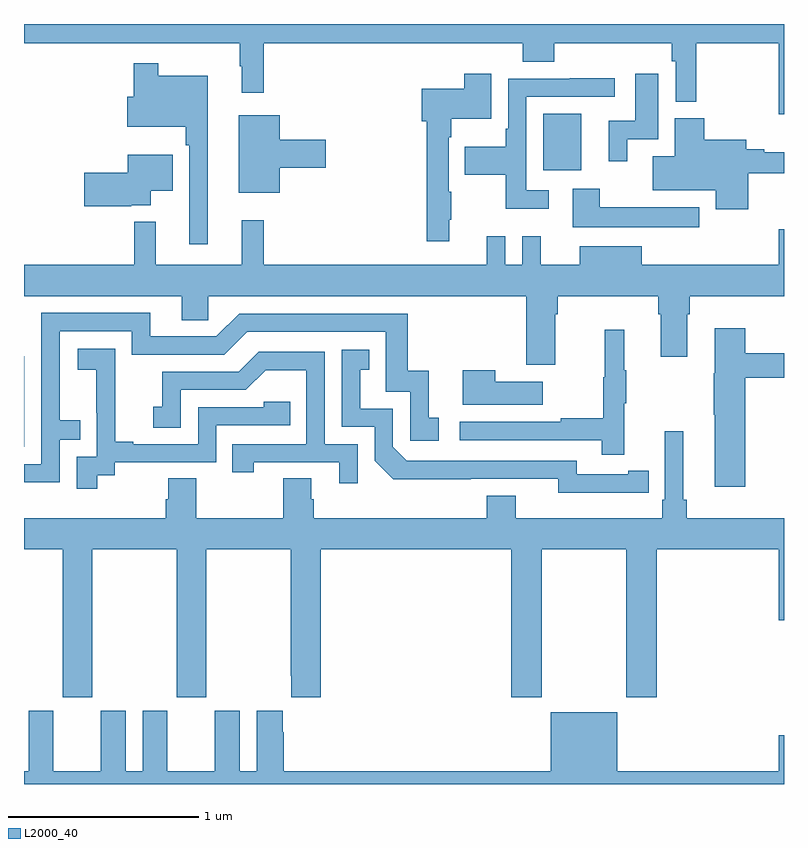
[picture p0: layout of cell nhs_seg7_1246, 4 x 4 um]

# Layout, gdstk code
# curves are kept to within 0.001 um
import gdstk
lib = gdstk.Library(unit=1e-6, precision=1e-09)
def R(c, l, rs):  # rectangles x0, y0, x1, y1
    for r in rs: c.add(gdstk.rectangle(r[:2], r[2:], *l))
def P(c, l, *ps):  # polygons
    for p in ps: c.add(gdstk.Polygon(p, *l))
L2000_40 = (2000, 40)

nhs_seg7_1246 = lib.new_cell('nhs_seg7_1246')
R(nhs_seg7_1246, L2000_40, [(197,1047.774,197.001,1048.251), (199.733,1049.231,199.933,1049.527)])
P(nhs_seg7_1246, L2000_40, [(201,1050),(197,1050),(197,1049.9),(198.135,1049.9),(198.135,1049.777),(198.146,1049.777),(198.146,1049.637),(198.263,1049.637),(198.263,1049.9),(199.625,1049.9),(199.625,1049.801),(199.79,1049.801),(199.79,1049.9),(200.41,1049.9),(200.41,1049.804),(200.43,1049.804),(200.43,1049.592),(200.539,1049.592),(200.539,1049.9),(200.972,1049.9),(200.972,1049.526),(201,1049.526)],
  [(197.968,1049.728),(197.707,1049.728),(197.707,1049.794),(197.578,1049.794),(197.578,1049.617),(197.544,1049.617),(197.544,1049.459),(197.851,1049.459),(197.851,1049.363),(197.871,1049.363),(197.871,1048.842),(197.968,1048.842)],
  [(199.238,1048.969),(199.249,1048.969),(199.249,1049.117),(199.236,1049.117),(199.236,1049.405),(199.249,1049.405),(199.249,1049.501),(199.459,1049.501),(199.459,1049.737),(199.316,1049.737),(199.316,1049.659),(199.094,1049.659),(199.094,1049.489),(199.12,1049.489),(199.12,1048.857),(199.238,1048.857)],
  [(200.176,1049.394),(200.338,1049.394),(200.338,1049.737),(200.216,1049.737),(200.216,1049.49),(200.078,1049.49),(200.078,1049.277),(200.176,1049.277)],
  [(199.762,1049.124),(199.644,1049.124),(199.644,1049.616),(200.11,1049.616),(200.11,1049.714),(199.873,1049.714),(199.873,1049.712),(199.548,1049.712),(199.548,1049.449),(199.536,1049.449),(199.536,1049.353),(199.321,1049.353),(199.321,1049.206),(199.536,1049.206),(199.536,1049.027),(199.762,1049.027)],
  [(198.346,1049.243),(198.589,1049.243),(198.589,1049.39),(198.346,1049.39),(198.346,1049.521),(198.131,1049.521),(198.131,1049.111),(198.346,1049.111)],
  [(200.813,1049.214),(201,1049.214),(201,1049.324),(200.896,1049.324),(200.896,1049.342),(200.8,1049.342),(200.8,1049.39),(200.579,1049.39),(200.579,1049.503),(200.426,1049.503),(200.426,1049.305),(200.309,1049.305),(200.309,1049.126),(200.642,1049.126),(200.642,1049.025),(200.813,1049.025)],
  [(197.564,1049.045),(197.668,1049.045),(197.668,1049.123),(197.782,1049.123),(197.782,1049.311),(197.546,1049.311),(197.546,1049.216),(197.316,1049.216),(197.316,1049.04),(197.564,1049.04)],
  [(200.554,1049.035),(200.029,1049.035),(200.029,1049.134),(199.889,1049.134),(199.889,1048.931),(200.554,1048.931)],
  [(199.795,1048.472),(199.808,1048.472),(199.808,1048.568),(200.339,1048.568),(200.339,1048.472),(200.351,1048.472),(200.351,1048.248),(200.491,1048.248),(200.491,1048.472),(200.504,1048.472),(200.504,1048.568),(201,1048.568),(201,1048.921),(200.972,1048.921),(200.972,1048.732),(200.251,1048.732),(200.251,1048.831),(199.925,1048.831),(199.925,1048.732),(199.721,1048.732),(199.721,1048.882),(199.623,1048.882),(199.623,1048.732),(199.533,1048.732),(199.533,1048.882),(199.436,1048.882),(199.436,1048.732),(198.263,1048.732),(198.263,1048.966),(198.146,1048.966),(198.146,1048.732),(197.693,1048.732),(197.693,1048.96),(197.579,1048.96),(197.579,1048.732),(197,1048.732),(197,1048.568),(197.831,1048.568),(197.831,1048.441),(197.97,1048.441),(197.97,1048.568),(199.643,1048.568),(199.643,1048.206),(199.795,1048.206)],
  [(197.187,1047.813),(197.297,1047.813),(197.297,1047.914),(197.187,1047.914),(197.187,1048.383),(197.568,1048.383),(197.568,1048.26),(198.054,1048.26),(198.174,1048.38),(198.903,1048.38),(198.903,1048.065),(199.032,1048.065),(199.032,1047.807),(199.183,1047.807),(199.183,1047.927),(199.13,1047.927),(199.13,1048.174),(199.019,1048.174),(199.019,1048.476),(198.132,1048.476),(198.012,1048.356),(197.665,1048.356),(197.665,1048.479),(197.091,1048.479),(197.091,1047.684),(197,1047.684),(197,1047.588),(197.187,1047.588)],
  [(200.795,1048.138),(201,1048.138),(201,1048.267),(200.795,1048.267),(200.795,1048.399),(200.636,1048.399),(200.636,1048.161),(200.629,1048.161),(200.629,1047.943),(200.636,1047.943),(200.636,1047.564),(200.795,1047.564)],
  [(200.159,1048.003),(200.17,1048.003),(200.17,1048.177),(200.159,1048.177),(200.159,1048.39),(200.056,1048.39),(200.056,1048.14),(200.049,1048.14),(200.049,1047.926),(199.825,1047.926),(199.825,1047.906),(199.293,1047.906),(199.293,1047.81),(200.041,1047.81),(200.041,1047.732),(200.159,1047.732)],
  [(197.386,1047.625),(197.478,1047.625),(197.478,1047.693),(198.012,1047.693),(198.012,1047.888),(198.401,1047.888),(198.401,1048.011),(198.261,1048.011),(198.261,1047.984),(197.916,1047.984),(197.916,1047.789),(197.575,1047.789),(197.575,1047.802),(197.48,1047.802),(197.48,1048.085),(197.481,1048.085),(197.481,1048.291),(197.283,1048.291),(197.283,1048.181),(197.381,1048.181),(197.381,1047.953),(197.382,1047.953),(197.382,1047.723),(197.277,1047.723),(197.277,1047.555),(197.386,1047.555)],
  [(200.18,1047.534),(200.288,1047.534),(200.288,1047.65),(200.18,1047.65),(200.18,1047.63),(199.908,1047.63),(199.908,1047.702),(199.014,1047.702),(198.942,1047.774),(198.942,1047.975),(198.769,1047.975),(198.769,1048.179),(198.818,1048.179),(198.818,1048.285),(198.672,1048.285),(198.672,1047.879),(198.846,1047.879),(198.846,1047.702),(198.944,1047.605),(199.812,1047.606),(199.812,1047.533)],
  [(198.756,1047.789),(198.582,1047.789),(198.582,1048.275),(198.236,1048.275),(198.131,1048.17),(197.728,1048.17),(197.728,1047.985),(197.679,1047.985),(197.679,1047.876),(197.826,1047.876),(197.826,1048.074),(198.168,1048.074),(198.272,1048.178),(198.486,1048.178),(198.486,1047.789),(198.097,1047.789),(198.097,1047.642),(198.208,1047.642),(198.208,1047.693),(198.659,1047.693),(198.659,1047.582),(198.756,1047.582)],
  [(199.729,1048.117),(199.481,1048.117),(199.481,1048.177),(199.31,1048.177),(199.31,1047.995),(199.729,1047.995)],
  [(197.358,1047.236),(197.803,1047.236),(197.803,1046.457),(197.958,1046.457),(197.958,1047.236),(198.403,1047.236),(198.403,1046.569),(198.407,1046.569),(198.407,1046.457),(198.563,1046.457),(198.563,1047.236),(199.565,1047.236),(199.565,1046.457),(199.725,1046.457),(199.725,1047.236),(200.17,1047.236),(200.17,1046.457),(200.33,1046.457),(200.33,1047.236),(200.972,1047.236),(200.972,1046.862),(201,1046.862),(201,1047.4),(200.489,1047.4),(200.489,1047.496),(200.47,1047.496),(200.47,1047.856),(200.373,1047.856),(200.373,1047.496),(200.36,1047.496),(200.36,1047.4),(199.588,1047.4),(199.588,1047.517),(199.436,1047.517),(199.436,1047.4),(198.524,1047.4),(198.524,1047.498),(198.511,1047.498),(198.511,1047.608),(198.364,1047.608),(198.364,1047.4),(197.907,1047.4),(197.907,1047.608),(197.759,1047.608),(197.759,1047.498),(197.747,1047.498),(197.747,1047.4),(197,1047.4),(197,1047.236),(197.203,1047.236),(197.203,1046.457),(197.358,1046.457)],
  [(201,1046.257),(200.972,1046.257),(200.972,1046.068),(200.122,1046.068),(200.122,1046.377),(199.772,1046.377),(199.772,1046.068),(198.368,1046.068),(198.368,1046.273),(198.361,1046.273),(198.361,1046.386),(198.224,1046.386),(198.224,1046.068),(198.136,1046.068),(198.136,1046.386),(198.005,1046.386),(198.005,1046.068),(197.755,1046.068),(197.755,1046.386),(197.624,1046.386),(197.624,1046.068),(197.536,1046.068),(197.536,1046.386),(197.405,1046.386),(197.405,1046.068),(197.155,1046.068),(197.155,1046.386),(197.024,1046.386),(197.024,1046.068),(197,1046.068),(197,1046),(201,1046)])

lib.write_gds('nhs_seg7_1246.gds')
